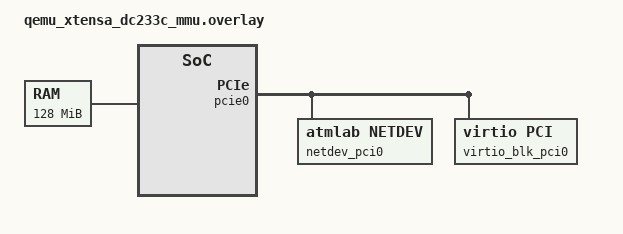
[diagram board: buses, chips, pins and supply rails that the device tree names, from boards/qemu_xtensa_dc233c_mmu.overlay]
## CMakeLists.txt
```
cmake_minimum_required(VERSION 3.20.0)

find_package(Zephyr REQUIRED HINTS $ENV{ZEPHYR_BASE})
project(service)

# Zephyr only tracks syscall headers under ZEPHYR_BASE/include, so edits to ours
# would not regenerate syscalls.json in an existing (e.g. cached) build dir.
# Reconfigure when the header changes, and drop the stale output when it does.
set(ATMLAB_SYSCALL_HEADER ${CMAKE_CURRENT_SOURCE_DIR}/atmlab_syscall.h)
set(ATMLAB_SYSCALLS_JSON ${CMAKE_BINARY_DIR}/zephyr/misc/generated/syscalls.json)
set_property(DIRECTORY APPEND PROPERTY CMAKE_CONFIGURE_DEPENDS ${ATMLAB_SYSCALL_HEADER})
if(${ATMLAB_SYSCALL_HEADER} IS_NEWER_THAN ${ATMLAB_SYSCALLS_JSON})
  file(REMOVE ${ATMLAB_SYSCALLS_JSON})
endif()

target_sources(app PRIVATE
  src/aal5.c
  src/atm.c
  src/coap_service.c
  src/crc.c
  src/f5.c
  src/inet.c
  src/main.c
  src/netdev.c
  src/pppoeoa.c
  src/signaling.c
  src/socket_atm.c
  src/syscall_guard.c
  src/user_data.c
  src/userspace.c
)
target_compile_options(app PRIVATE -fno-inline)

# Tests
target_sources_ifdef(CONFIG_SELFTEST app PRIVATE src/test/selftest.c)
target_sources_ifdef(CONFIG_SELFTEST_ATM_NETDEV app PRIVATE src/test/netdev.c)

# Ensure the SOC is set correctly
if(NOT CONFIG_SOC STREQUAL "dc233c")
  error("Unsupported SOC ${CONFIG_SOC}")
endif()

# Ship zephyr.elf without our debug info and symbols, keeping Zephyr's. Only the
# final link may use the stripped archive; gen_kobject_list.py needs our DWARF.
set(APP_NODWARF ${APPLICATION_BINARY_DIR}/libapp-nodwarf.a)
add_custom_command(
  OUTPUT ${APP_NODWARF}
  COMMAND ${CMAKE_OBJCOPY} --strip-debug $<TARGET_FILE:app> ${APP_NODWARF}
  DEPENDS app
  COMMENT "Dropping application debug info for the final link"
  VERBATIM
)
add_custom_target(app-nodwarf DEPENDS ${APP_NODWARF})
add_dependencies(${logical_target_for_zephyr_elf} app-nodwarf)

get_target_property(FINAL_LIBS ${logical_target_for_zephyr_elf} LINK_LIBRARIES)
list(TRANSFORM FINAL_LIBS REPLACE "^app$" ${APP_NODWARF})
set_target_properties(${logical_target_for_zephyr_elf} PROPERTIES LINK_LIBRARIES "${FINAL_LIBS}")

# .text is writable due to `-Wl,-N` (ld `--omagic`) in the linker flags.
# Combined with Xtensa's constant pools, this messes with tooling in a horrible way.
# I'd leave this normally, but it's unnecessary pain for ECSC.
add_custom_target(text-readonly ALL
  COMMAND ${PYTHON_EXECUTABLE} ${APPLICATION_SOURCE_DIR}/scripts/clear_section_write_flag.py
          ${APPLICATION_BINARY_DIR}/zephyr/${KERNEL_ELF_NAME} .text
  DEPENDS ${APPLICATION_SOURCE_DIR}/scripts/clear_section_write_flag.py
  COMMENT "Clearing the SHF_WRITE bit -Wl,-N leaves on .text"
  VERBATIM
)
add_dependencies(text-readonly ${logical_target_for_zephyr_elf})

# Dropping our names from the symbol table on top of that is optional: with
# CONFIG_STRIP_APP_SYMBOLS=n, ${KERNEL_ELF_NAME} keeps our function and object
# names.
if(CONFIG_STRIP_APP_SYMBOLS)
  set(DEBUG_ELF ${APPLICATION_BINARY_DIR}/zephyr/zephyr-debug.elf)
  add_custom_command(
    OUTPUT ${DEBUG_ELF}
    COMMAND ${PYTHON_EXECUTABLE} ${APPLICATION_SOURCE_DIR}/scripts/strip_app_symbols.py
            --nm ${CMAKE_NM} --ar ${CMAKE_AR} --objcopy ${CMAKE_OBJCOPY}
            --build-dir ${APPLICATION_BINARY_DIR} --app-lib $<TARGET_FILE:app>
            --debug-copy ${DEBUG_ELF}
            ${APPLICATION_BINARY_DIR}/zephyr/${KERNEL_ELF_NAME}
    DEPENDS ${logical_target_for_zephyr_elf} text-readonly
            ${APPLICATION_SOURCE_DIR}/scripts/strip_app_symbols.py
    COMMENT "Stripping application symbols from ${KERNEL_ELF_NAME}"
    VERBATIM
  )
  add_custom_target(strip-app-symbols ALL DEPENDS ${DEBUG_ELF})
endif()

# Build base-disk to build the template disk image
set(BASE_DISK ${APPLICATION_BINARY_DIR}/base-disk.img)
add_custom_command(
  OUTPUT ${BASE_DISK}
  COMMAND
    env
      BASE_DISK=${BASE_DISK}
      SLOTS_PER_GENERATION=${CONFIG_OAM_SLOTS_PER_GENERATION}
      LIVE_GENERATIONS=${CONFIG_OAM_LIVE_GENERATIONS}
      RECORD_SIZE=${CONFIG_OAM_RECORD_SIZE}
    ${APPLICATION_SOURCE_DIR}/../mkdisk.sh
  DEPENDS ${APPLICATION_SOURCE_DIR}/../mkdisk.sh
  COMMENT "Building base-disk.img"
  VERBATIM
)
add_custom_target(base-disk DEPENDS ${BASE_DISK})

# run-virt to run with the correct hardware setup
add_custom_target(run-virt
  COMMAND
    env
      KERNEL=${APPLICATION_BINARY_DIR}/zephyr/${KERNEL_ELF_NAME}
      QEMU=${QEMU}
      BASE_DISK=${BASE_DISK}
    ${APPLICATION_SOURCE_DIR}/../run.sh
  DEPENDS ${logical_target_for_zephyr_elf} ${BASE_DISK}
  USES_TERMINAL
  VERBATIM
)
```

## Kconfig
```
source "Kconfig.zephyr"

config STRIP_APP_SYMBOLS
    bool "Strip application symbols from zephyr.elf"
    default y
    help
      Removes our own function and object names from the shipped zephyr.elf,
      keeping Zephyr's, and leaves a copy with them intact in zephyr-debug.elf.
      Our debug info is dropped from the final link either way.

menu "ATM network devices"

config ATM_LOG_LEVEL
    int "Log level for ATM network devices"
    default LOG_DEFAULT_LEVEL
    range 0 4
    help
      Sets the log level for ATM network devices:
      0: None
      1: Error
      2: Warning
      3: Info
      4: Debug

config ATM_NETDEV_MSG_HEAP_SIZE
    int "Size of the heap for ATM cells"
    default 4194304

config ATM_CIRCUIT_LIFETIME_SECONDS
    int "Release accepted circuits after X seconds (0 disables)"
    default 180
    help
      Bounds how long one call can hold a handler thread. A handler that stops
      cooperating is not reclaimed by anything else.

config ATM_HANDLER_ABORT_GRACE_MS
    int "Grace period before a lingering handler thread is aborted"
    default 1000
    help
      How long a handler gets to notice that its circuit is gone and exit on
      its own before it is aborted.

menu "Self-tests"

config SELFTEST
    bool
    help
      Runs self-tests instead of the main application

config SELFTEST_LOG_LEVEL
    int "Log level for selftests"
    depends on SELFTEST
    default 4
    range 0 4
    help
      Sets the log level for the self-tests:
      0: None
      1: Error
      2: Warning
      3: Info
      4: Debug

config SELFTEST_ATM_NETDEV
    bool "Run network device self-test"
    default no
    select SELFTEST

endmenu

endmenu

menu "OAM"

config OAM_STORAGE_ROOT
    string "OAM storage root"
    default "/disk0:/oam"
    help
      Storage root for OAM F5 management commands

config OAM_STORAGE_ROTATION_MS
    int "Rotate OAM storage at least every X milliseconds"
    default 60000

config OAM_LIVE_GENERATIONS
    int "Number of rotations that OAM storage should persist"
    default 32
    help
      Choose a number high enough to cover the flag lifetime plus extra generations from rebooting.
      Must be a power of two.

config OAM_SLOTS_PER_GENERATION
    int "Number of slots per OAM storage generation"
    default 16384
    help
      Choose a number high enough to cover the expected number of stores per round.
      Must be a power of two.

config OAM_RECORD_SIZE
    int "Bytes per OAM storage record"
    default 64

endmenu
```

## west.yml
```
# Copyright (c) 2021 Nordic Semiconductor ASA
# SPDX-License-Identifier: Apache-2.0

manifest:
  remotes:
    - name: zephyrproject-rtos
      url-base: https://github.com/zephyrproject-rtos

  projects:
    - name: zephyr
      url: https://github.com/Attacking-Lab/ecsc2026-service-router-zephyr
      revision: main
      import:
        name-allowlist:
          - fatfs
          - hal_xtensa
          - mbedtls
```

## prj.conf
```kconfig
# Hardware
CONFIG_DISK_ACCESS=y
CONFIG_FILE_SYSTEM=y
CONFIG_FAT_FILESYSTEM_ELM=y
CONFIG_FS_FATFS_MOUNT_MKFS=n
CONFIG_FS_FATFS_REENTRANT=y
CONFIG_HEAP_MEM_POOL_SIZE=16777216
CONFIG_PCIE=y
CONFIG_PCIE_CONTROLLER=y
CONFIG_PCIE_ECAM=y
CONFIG_VIRTIO=y

# Threads
CONFIG_DYNAMIC_OBJECTS=y
CONFIG_DYNAMIC_THREAD=y
CONFIG_DYNAMIC_THREAD_ALLOC=y
CONFIG_EXECUTE_XOR_WRITE=n
CONFIG_MAX_THREAD_BYTES=48
CONFIG_THREAD_NAME=y
CONFIG_USERSPACE=y
CONFIG_XTENSA_MMU_FLUSH_AUTOREFILL_DTLBS_ON_SWAP=y
CONFIG_XTENSA_MMU_FLUSH_AUTOREFILL_ITLBS_ON_SWAP=y
CONFIG_XTENSA_USER_STACK_EXECUTABLE=y

# Syscalls
#   atmlab: our own
#   zephyr: stdio
#   thread_abort: automatically called at exit
#   sched_current_thread_query: called by k_is_user_context
CONFIG_SYSCALL_FILTER=".*(atmlab|zephyr|thread_abort|sched_current_thread_query).*"
CONFIG_APPLICATION_DEFINED_SYSCALL=y

# CoAP
# CONFIG_COAP requires CONFIG_NETWORKING but we don't use that, so CONFIG_NET_NATIVE=n
# The RNG is there to provide sys_rand_get to coap_next_token, but never actually used.
CONFIG_NETWORKING=y
CONFIG_NET_NATIVE=n
CONFIG_COAP=y
CONFIG_COAP_URI_WILDCARD=n
CONFIG_TEST_RANDOM_GENERATOR=y
CONFIG_TIMER_RANDOM_GENERATOR=y

# cry(ptogrpahy)
CONFIG_MBEDTLS=y
CONFIG_MBEDTLS_AES_ROM_TABLES=y
CONFIG_MBEDTLS_CIPHER=y
CONFIG_MBEDTLS_CIPHER_AES_ENABLED=y
CONFIG_MBEDTLS_CIPHER_MODE_CTR_ENABLED=y
CONFIG_MBEDTLS_CMAC=y
CONFIG_MBEDTLS_ENABLE_HEAP=y
CONFIG_MBEDTLS_HEAP_SIZE=4096

# memory management is a myth invented by the ram industry to sell you more ram
CONFIG_XTENSA_MMU_NUM_L1_TABLES=252
CONFIG_XTENSA_MMU_NUM_L2_TABLES=2048
CONFIG_KERNEL_VM_SIZE=0x6000000

# Stacks
CONFIG_ISR_STACK_SIZE=4096
CONFIG_SYSTEM_WORKQUEUE_STACK_SIZE=4096
CONFIG_LOG_PROCESS_THREAD_STACK_SIZE=2048
CONFIG_XTENSA_USER_FAULT_BAILOUT_STACK_SIZE=2048

# Debugging
CONFIG_STRIP_APP_SYMBOLS=n
CONFIG_EARLY_CONSOLE=y
CONFIG_KERNEL_LOG_LEVEL_ERR=y
CONFIG_LOG=y
CONFIG_LOG_DEFAULT_LEVEL=4
CONFIG_LOG_MAX_LEVEL=4
CONFIG_LOG_MODE_IMMEDIATE=n
CONFIG_LOG_RUNTIME_DEFAULT_LEVEL=1
CONFIG_LOG_RUNTIME_FILTERING=y
CONFIG_STDOUT_CONSOLE=y
CONFIG_XTENSA_SIM_CONSOLE=y
```

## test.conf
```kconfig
CONFIG_SELFTEST_ATM_NETDEV=y
```

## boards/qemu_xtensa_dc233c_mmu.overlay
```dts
#include <zephyr/dt-bindings/pcie/pcie.h>

/ {
    chosen {
        zephyr,pcie-controller = &pcie0;
    };

    /* Don't reduce RAM size just because you want to, Zephyr... */
    sram0: memory@0 {
        reg = <0x00000000 0x08000000>;
    };

    intc: interrupt-controller@ff000000 {
        compatible = "cdns,xtensa-core-intc";
        reg = <0xff000000 0x400>;
        interrupt-controller;
        #address-cells = <0>;
        #interrupt-cells = <3>;
    };

    pcie0: pcie@f0100000 {
        compatible = "pci-host-ecam-generic", "pcie-controller";
        device_type = "pci";
        reg = <0xf0100000 0x00600000>;
        bus-range = <0x00 0x05>;
        #address-cells = <3>;
        #size-cells = <2>;
        #interrupt-cells = <1>;
        ranges =
            <0x01000000 0 0xf0000000  0xf0000000 0 0x00010000
             0x02000000 0 0xf4000000  0xf4000000 0 0x04000000
             0x03000000 0 0xf8000000  0xf8000000 0 0x04000000>;
        interrupt-parent = <&intc>;
        interrupt-map-mask = <0x0 0x0 0x0 0x7>;
        interrupt-map =
            <0x800 0x0 0x0 0x1 &intc 0x0 1 0
             0x800 0x0 0x0 0x2 &intc 0x1 1 0
             0x800 0x0 0x0 0x3 &intc 0x2 1 0
             0x800 0x0 0x0 0x4 &intc 0x3 1 0>;

        netdev_pci0: netdev_pci0 {
            compatible = "atmlab,netdev";
            vendor-id = <0xdff4>;
            device-id = <0x1337>;
            interrupts = <0x1 1 0>;
            interrupt-parent = <&intc>;
            status = "okay";
        };

        virtio_blk_pci0: virtio_blk_pci0 {
            compatible = "virtio,pci";
            vendor-id = <0x1af4>;
            device-id = <0x1042>;
            interrupts = <0x2 1 0>;
            interrupt-parent = <&intc>;
            status = "okay";

            disk0: disk0 {
                compatible = "virtio,blk";
                disk-name = "disk0";
                status = "okay";
            };
        };
    };
};
```

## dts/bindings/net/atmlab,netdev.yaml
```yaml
description: ATMLAB PCI network device

compatible: "atmlab,netdev"

include: [base.yaml, pcie-device.yaml]

properties:
  interrupts:
    required: true
```

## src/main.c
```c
#include <zephyr/kernel.h>

#include <zephyr/app_memory/mem_domain.h>
#include <zephyr/app_memory/partitions.h>
#include <zephyr/fatal.h>
#include <zephyr/fs/fs.h>
#include <zephyr/logging/log_ctrl.h>
#include <zephyr/storage/disk_access.h>
#include <zephyr/sys/libc-hooks.h>
#include <zephyr/sys/printk.h>

#include <ff.h>

#include "aal5.h"
#include "syscall_guard.h"
#include "userspace.h"

#if CONFIG_SELFTEST
#include "test/selftest.h"
#endif

struct k_mem_domain thread_domains[MAX_HANDLERS];

// A handler domain starts out with nothing of its own: the thread's stack is
// mapped into it when the thread joins (and unmapped when it dies), and
// text/rodata are mapped shared for every ring. The C library's globals are the
// one thing that has to be handed over explicitly, or printf() faults.
//
// This has to run before anything maps memory that is not identity-mapped --
// the PCI BARs, above all. A domain is a copy of the kernel page tables taken
// when the domain is created, and arch_mem_domain_init() makes that copy by
// resetting every page it copies to the attributes saved at boot. Pages mapped
// after boot have no saved attributes, so they come out of the copy *unmapped*:
// a domain created after the PCIe/virtio drivers is missing their BARs, and the
// virtio ISR dies with a load-prohibited fault the first time it fires while a
// handler thread is current. Taking the copy first avoids the whole problem,
// because arch_mem_map() propagates every later mapping into every existing
// domain. Hence PRE_KERNEL_1, right after the memory domain subsystem itself
// (which initialises at KERNEL_INIT_PRIORITY_DEFAULT) and before the drivers.
static int init_thread_domains(void)
{
    struct k_mem_partition *parts[] = { &z_libc_partition };

    for (size_t i = 0; i < ARRAY_SIZE(thread_domains); ++i) {
        int error = k_mem_domain_init(&thread_domains[i], ARRAY_SIZE(parts), parts);
        if (error != 0) {
            printk("Failed to initialize thread domain %zu: %d\n", i, error);
            return error;
        }
    }

    return 0;
}

BUILD_ASSERT(CONFIG_KERNEL_INIT_PRIORITY_DEFAULT < 50);
SYS_INIT(init_thread_domains, PRE_KERNEL_1, 50);

static FATFS fat_fs;
static struct fs_mount_t fat_mount = { .type = FS_FATFS, .mnt_point = "/disk0:", .fs_data = &fat_fs, };

int main(void) {
#if CONFIG_SELFTEST
    run_selftests();
#endif

    int error;

    error = disk_access_ioctl("disk0", DISK_IOCTL_CTRL_INIT, NULL);
    if (error != 0) {
        printk("Failed to initialize disk: %d\n", error);
        k_panic();
    }

    error = fs_mount(&fat_mount);
    if (error != 0) {
        printk("Failed to mount disk at %s: %d\n", fat_mount.mnt_point, error);
        k_panic();
    }

    userspace_main();

    printk("Initialization done.\n");
    return 0;
}

// The default error handler would panic the entire system.
// This will only kill the thread that caused the panic.
void k_sys_fatal_error_handler(unsigned int reason, const struct arch_esf *esf) {
    // What thread are we on?
    struct k_thread *thread = k_current_get();
    const char *name = k_thread_name_get(thread);
    if (name == NULL || name[0] == '\0') {
        name = "unknown";
    }

    // k_is_in_isr() is always true here: on Xtensa the exception entry bumps
    // the nesting count before calling into C. Only a deeper nesting means the
    // fault happened inside an ISR.
    bool fault_in_isr = arch_curr_cpu()->nested > 1;

    // A user thread that faulted inside one of our syscalls may hold a kernel
    // lock (store_lock, the FatFS volume, the disk). Dropping it would leave
    // that lock owned by a dead thread whose object gets recycled, and every
    // later locker would fault in priority inheritance; halting is better.
    // K_OOPS in the z_vrfy_*() checks fires before the guard and holds nothing.
    bool fault_in_syscall = syscall_guard_forget(thread);

    // Only a faulting user thread can be dropped on its own. k_is_user_context()
    // cannot answer this (we are already privileged), but we can ask the thread.
    if (fault_in_isr || fault_in_syscall || (thread->base.user_options & K_USER) == 0) {
        // Flush the deferred log backend, or the fault that got us here is dropped.
        LOG_PANIC();
        printk("Fatal error %u in kernel context on thread: %p (%s)%s\n", reason, thread, name,
                fault_in_syscall ? " inside a syscall" : "");
        k_fatal_halt(reason);
    }

    // The system keeps running, so do not use LOG_PANIC() (it latches the logger
    // into synchronous mode for good, which costs ~1 KB of stack per printk) or
    // log_flush() (it sleeps, which is not allowed inside the exception handler).
    printk("Fatal error on thread: %p (%s)\n", thread, name);
    log_thread_trigger();
}
```

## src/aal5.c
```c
/*
 * Implementation of ATM Adaption Layer Type 5 as specified in I.363.5
 *
 * Streaming mode (7.ii) is not implemented.
 * Corrupted data delivery (Annex E) is not implemented.
 */

#include <string.h>
#include <zephyr/kernel.h>

#include <zephyr/logging/log.h>
#include <zephyr/sys/crc.h>
#include <zephyr/sys/util.h>

#include "aal5.h"
#include "atm.h"
#include "crc.h"

LOG_MODULE_REGISTER(aal5_layer, CONFIG_ATM_LOG_LEVEL);

struct atm_sdu_entry {
    void *fifo_reserverd;
    uint32_t auu;
    uint8_t data[ATM_SDU_SIZE];
};

__always_inline static uint16_t aal5_trailer_get_len(const struct aal5_trailer* trailer)
{
    return trailer->length[0] << 8 | trailer->length[1];
}

__always_inline static void aal5_trailer_set_len(struct aal5_trailer* trailer, uint16_t length)
{
    trailer->length[0] = (uint8_t)(length >> 8);
    trailer->length[1] = (uint8_t)length;
}

__always_inline static uint32_t aal5_trailer_get_crc(const struct aal5_trailer* trailer)
{
    return trailer->crc[0] << 24 | trailer->crc[1] << 16 | trailer->crc[2] << 8 | trailer->crc[3];
}

__always_inline static void aal5_trailer_set_crc(struct aal5_trailer* trailer, uint32_t crc)
{
    trailer->crc[0] = (uint8_t)(crc >> 24);
    trailer->crc[1] = (uint8_t)(crc >> 16);
    trailer->crc[2] = (uint8_t)(crc >> 8);
    trailer->crc[3] = (uint8_t)crc;
}

static void aal5_cb(struct atm_vc* atm_vc, uint8_t* atm_sdu, bool loss_priority, bool congestion_indication, uint32_t auu)
{
    struct aal5_vc *vc = CONTAINER_OF(atm_vc, struct aal5_vc, atm);

    if (atomic_get(&vc->rx_q_cells) >= AAL5_RX_QUEUE_CELLS) {
        // Reader is not reading, drop the cell
        LOG_DBG("rx queue full, dropping cell");
        return;
    }

    struct atm_sdu_entry *sdu = k_malloc(sizeof(struct atm_sdu_entry));
    if (sdu == NULL) {
        LOG_ERR("out of memory, dropping cell");
        return;
    }
    sdu->auu = auu;
    memcpy(sdu->data, atm_sdu, ATM_SDU_SIZE);

    atomic_inc(&vc->rx_q_cells);
    k_fifo_put(&vc->rx_q, sdu);
}

int aal5_rx(struct aal5_vc *vc, uint8_t *buf, size_t *buf_len, uint8_t *uu)
{
    int rx_size = 0;
    uint32_t crc = CRC_INITIAL_VALUE;

    if (
            vc == NULL
            || buf == NULL
            || buf_len == NULL
            || (*buf_len + sizeof(struct aal5_trailer)) % ATM_SDU_SIZE != 0 ) {
        return -EINVAL;
    }

    if (vc->closing) {
        return -ENOTCONN;
    }

    while (true) {
        struct atm_sdu_entry *sdu = k_fifo_get(&vc->rx_q, K_FOREVER);
        if (sdu == NULL) {
            // can only happen if signaled from close
            // means connection is closed
            return -ENOTCONN;
        }
        if ((void *)sdu == (void *)&vc->rx_eof) {
            // end-of-stream marker from aal5_close_vc(); put it back for the
            // next reader, it is part of the VC and must not be freed
            k_fifo_put(&vc->rx_q, &vc->rx_eof);
            return -ENOTCONN;
        }
        atomic_dec(&vc->rx_q_cells);

        if (vc->rx_dropping) {
            // rx error from previous cell
            // drop until next AAL5 SDU
            if (sdu->auu == 1) {
                vc->rx_dropping = false;
            }
        } else if (sdu->auu == 1) {
            // last frame
            struct aal5_trailer *trailer = (struct aal5_trailer*)((uintptr_t)sdu->data + ATM_SDU_SIZE - sizeof(struct aal5_trailer));
            bool discard = false;

            // can be negative if there is already padding in the previous cell
            int sdu_remaining_bytes = (int)aal5_trailer_get_len(trailer) - rx_size;
            if (
                    aal5_trailer_get_len(trailer) == 0                                          // explicit drop requested
                    || sdu_remaining_bytes < -(int)(sizeof(struct aal5_trailer) - 1)            // too much data already present
#ifdef FIX_AAL5_BUG
                    || sdu_remaining_bytes > (int)(ATM_SDU_SIZE - sizeof(struct aal5_trailer))  // too little data
                    || aal5_trailer_get_len(trailer) > *buf_len                                 // too much data for buffer
#else
                    || sdu_remaining_bytes > ATM_SDU_SIZE                                       // too little data
#endif
                    || trailer->cpi != 0                                                        // invalid cpi
                    ) {
                LOG_DBG("Dropping invalid AAL5 SDU");
                discard = true;
            }

            if (!discard) {
                // update crc
                crc = update_crc(crc, sdu->data, ATM_SDU_SIZE - 4);
                crc = CRC_FINISH(crc);

                if (aal5_trailer_get_crc(trailer) != crc) {
                    LOG_DBG("Invalid CRC: calculated: %x expected: %x", crc, aal5_trailer_get_crc(trailer));
                    discard = true;
                }
            }

            if (discard) {
                // stop processing invalid SDU
                vc->rx_dropping = true;
                rx_size = 0;
                k_free(sdu);
                continue;
            }
            if (sdu_remaining_bytes > 0) {
                memcpy(buf + rx_size, sdu->data, sdu_remaining_bytes);
            }
            // rx_size needs to be adjusted even if sdu_remaining_bytes is < 0
            // because this indicates padding in the previous cell that needs to be truncated
            rx_size += sdu_remaining_bytes;
            *buf_len = rx_size;
            if (uu != NULL) {
                *uu = trailer->uu;
            }
            k_free(sdu);
            return 0;
        } else {
            // continous frame
            if (rx_size + ATM_SDU_SIZE > *buf_len - 1) {
                // either this or the next ATM SDU would overflow the buffer
                // drop packets in the following call
                vc->rx_dropping = true;
                // and notify the caller
                k_free(sdu);
                return -ENOBUFS;
            }
            // update crc
            crc = update_crc(crc, sdu->data, ATM_SDU_SIZE);

            // copy to reassembly buffer
            memcpy(buf + rx_size, sdu->data, ATM_SDU_SIZE);
            rx_size += ATM_SDU_SIZE;
        }
        k_free(sdu);
    }

}

int aal5_tx(struct aal5_vc *vc, const uint8_t *sdu, size_t sdu_len, bool loss_priority, bool congestion_indication, uint8_t uu)
{
    if (vc->closing) {
        return -ENOTCONN;
    }

    if (sdu_len > UINT16_MAX) {
        return -EINVAL;
    }

    uint32_t crc = CRC_INITIAL_VALUE;
    crc = update_crc(crc, sdu, sdu_len);
    size_t sdu_remaining_bytes = sdu_len;
    size_t left;
    while (true) {
        size_t data_len = min(sdu_remaining_bytes, ATM_SDU_SIZE);
        left = ATM_SDU_SIZE - data_len;

        if (left == 0) {
            // full cell, send it out
            int ret = atm_tx_data(&vc->atm, sdu, loss_priority, congestion_indication, 0);
            if (ret != 0) {
                return ret;
            }
        } else if (left < sizeof(struct aal5_trailer)) {
            // not enough space for trailer, but need to add padding
            uint8_t cell[ATM_SDU_SIZE];
            memcpy(cell, sdu, sdu_remaining_bytes);
            memset(cell + sdu_remaining_bytes, 0, left);
            // need to include padding in the CRC
            crc = update_crc(crc, cell + sdu_remaining_bytes, left);
            int ret = atm_tx_data(&vc->atm, cell, loss_priority, congestion_indication, 0);
            if (ret != 0) {
                return ret;
            }
        } else {
            // enough space for the trailer, this is the last cell
            uint8_t cell[ATM_SDU_SIZE];
            memcpy(cell, sdu, sdu_remaining_bytes);
            memset(cell + sdu_remaining_bytes, 0, left - sizeof(struct aal5_trailer));
            struct aal5_trailer *trailer = (struct aal5_trailer*)((uintptr_t)cell + ATM_SDU_SIZE - sizeof(struct aal5_trailer));
            trailer->uu = uu;
            trailer->cpi = 0;
            aal5_trailer_set_len(trailer, sdu_len);

            // CRC includes padding and trailer, except for the CRC field
            crc = update_crc(crc, cell + sdu_remaining_bytes, left - 4);
            aal5_trailer_set_crc(trailer, CRC_FINISH(crc));

            // set auu to 1 to indicate last cell
            int ret = atm_tx_data(&vc->atm, cell, loss_priority, congestion_indication, 1);
            if (ret != 0) {
                return ret;
            }
            break;
        }
        sdu_remaining_bytes -= data_len;
        sdu += data_len;
    }
    return 0;
}

struct aal5_vc *aal5_find_vc(uint32_t vpi, uint32_t vci)
{
    struct atm_vc *atm_vc = atm_find_vc(vpi, vci);
    if (atm_vc == NULL) {
        return NULL;
    }
    struct aal5_vc *vc = CONTAINER_OF(atm_vc, struct aal5_vc, atm);
    return vc;
}

int aal5_open_pvc(struct aal5_vc *vc, uint32_t vpi, uint32_t vci)
{
    int ret;
    if ((ret = atm_set_data_cb(&vc->atm, aal5_cb)) != 0) {
        return ret;
    }
    vc->closing = false;
    vc->rx_dropping = false;
    atomic_clear(&vc->rx_q_cells);
    k_fifo_init(&vc->rx_q);
    return atm_open_pvc(&vc->atm, vpi, vci);
}

int aal5_close_vc(struct aal5_vc *vc)
{
    if (vc == NULL) {
        return -EINVAL;
    }

    // vc may be stale (see aal5_find_vc), so claim the teardown before touching
    // any field; on -EBADR another closer owns it and we must not touch it
    int ret;
    if ((ret = atm_close_vc(&vc->atm)) != 0) {
        return ret;
    }

    // we own the teardown: the RX callback is done and nothing can put into
    // rx_q any more; the memory stays valid until atm_close_vc_finish()
    vc->closing = true;

    // clear any remaining entries in the queue
    struct atm_sdu_entry *sdu;
    while ((sdu = k_fifo_get(&vc->rx_q, K_NO_WAIT)) != NULL) {
        k_free(sdu);
    }
    atomic_clear(&vc->rx_q_cells);

    // wake a waiting reader and fail every later one (must come after the drain)
    k_fifo_put(&vc->rx_q, &vc->rx_eof);

    // last access to the VC
    atm_close_vc_finish(&vc->atm);
    return 0;
}
```

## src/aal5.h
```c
#ifndef AAL5_H_
#define AAL5_H_

#include <zephyr/sys/atomic.h>

#include "atm.h"

#define AAL5_MAX_SDU_SIZE 2048
#define AAL5_RX_QUEUE_CELLS 128

struct aal5_trailer {
    uint8_t uu;     // User-to-User indication
    uint8_t cpi;    // Common Part Indicator (reserved)
    uint8_t length[2];
    uint8_t crc[4];
} __packed;

struct aal5_vc;

struct aal5_vc {
    struct atm_vc atm;
    bool closing;
    bool rx_dropping;
    struct k_fifo rx_q;
    /* number of cells currently in rx_q; written by both producer and reader */
    atomic_t rx_q_cells;
    /*
     * End-of-stream marker: aal5_close_vc() queues it, aal5_rx() recognises
     * it by address and returns -ENOTCONN. Unlike k_fifo_cancel_wait() it also
     * catches readers that are not pending yet.
     */
    void *rx_eof;
};

/*
 * Wrapper around atm_open_vc for a PVC that uses AAL5
 * vc must be allocated by the caller
 * If the vpi/vci combination is already used return -EADDRINUSE
 */
int aal5_open_pvc(struct aal5_vc *vc, uint32_t vpi, uint32_t vci);

/*
 * Close the given virtual circuit
 * The allocated memory must be deallocated by the caller
 *
 * Only one caller tears a circuit down (see atm_close_vc()); the others get
 * -EBADR without touching the VC, so a stale pointer from aal5_find_vc() is safe.
 * Returns -EINVAL if vc is NULL, -EBADR if the circuit is not open (any more).
 */
int aal5_close_vc(struct aal5_vc *vc);

/*
 * Get the aal5_vc struct belonging to a given VPI VCI combination
 *
 * Returns NULL if the VPI VCI combination is not used
 * The result is not pinned (see atm_find_vc()); only pass it to aal5_close_vc().
 */
struct aal5_vc *aal5_find_vc(uint32_t vpi, uint32_t vci);

/*
 * Receive an AAL5 encoded SDU via the VC into the given buffer
 * buf_len is the length of the buffer on entry and is returned as the actually received size
 * uu is returned as the uu of the SDU
 *
 * buf_len needs to be (N * ATM_SDU_SIZE) - 8
 *
 * If the conection is closed returns -ENOTCONN
 * If the arguments are invalid returns -EINVAL
 * If the buffer is to small for the received SDU returns -ENOBUFS
 */
int aal5_rx(struct aal5_vc *vc, uint8_t *buf, size_t *buf_len, uint8_t *uu);

/*
 * Send an AAL5 encoded SDU via a VC to the receiving side
 * sdu_len must be less than 2^16
 *
 * If the conection is closed returns -ENOTCONN
 * If an ATM network device does not exist, this returns -ENODEV.
 * If the device is not ready yet, this returns -ENXIO.
 * If the system is out of memory this function will block until memory is available again
 *
 * Ref: I.363.5 7.2.1 CPCS-UNITDATA invoke
 */
int aal5_tx(struct aal5_vc *vc, const uint8_t *sdu, size_t sdu_len, bool loss_priority, bool congestion_indication, uint8_t uu);

#endif
```

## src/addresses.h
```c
#ifndef ADDRESSES_H_
#define ADDRESSES_H_

#include <stdint.h>

#define E164_ADDRESS_SIZE 8
#define E164_MAX_LENGTH 15

/* Struct holding an E.164 address
 *
 * just a normal phone number
 */
struct E164_address {
    uint8_t address[E164_ADDRESS_SIZE];
};

/*
 * Struct holding an ATM address per E.191
 *
 * We only support E.164 AESA which means that the idi is an E.164 address
 */
struct E191_address {
    uint8_t idp;
    struct E164_address idi;
    uint8_t ho_dsp[4];
    uint8_t esi[6];
    uint8_t sel;
} __packed;

#endif
```

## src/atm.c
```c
#include <zephyr/kernel.h>

#include <zephyr/logging/log.h>
#include <zephyr/spinlock.h>
#include <zephyr/sys/slist.h>

#include "f5.h"
#include "netdev.h"

LOG_MODULE_REGISTER(atm_layer, CONFIG_ATM_LOG_LEVEL);

// Important: The lock protects the list, the cache and every vc->_state
static struct k_spinlock vcs_lock;
static sys_slist_t vcs = SYS_SLIST_STATIC_INIT(&vcs);
static struct atm_vc *vc_cache = NULL;

static struct atm_vc *_atm_find_vc(uint32_t vpi, uint32_t vci, struct atm_vc **prev)
{
    if (prev != NULL) {
        *prev = NULL;
    }

    struct atm_vc *current;
    bool found = false;
    SYS_SLIST_FOR_EACH_CONTAINER(&vcs, current, _node) {
        if (current->vpi == vpi && current->vci == vci) {
            found = true;
            break;
        }
        if (prev != NULL) {
            *prev = current;
        }
    }

    return found ? current : NULL;
}

// Look a VC up by identity. vc is only compared, never dereferenced, so a
// stale pointer is safe here. Call with vcs_lock held.
static struct atm_vc *_atm_find_vc_ptr(const struct atm_vc *vc, struct atm_vc **prev)
{
    if (prev != NULL) {
        *prev = NULL;
    }

    struct atm_vc *current;
    SYS_SLIST_FOR_EACH_CONTAINER(&vcs, current, _node) {
        if (current == vc) {
            return current;
        }
        if (prev != NULL) {
            *prev = current;
        }
    }

    return NULL;
}

struct atm_vc *atm_find_vc(uint32_t vpi, uint32_t vci)
{
    k_spinlock_key_t vcs_lock_key = k_spin_lock(&vcs_lock);
    struct atm_vc *ret = _atm_find_vc(vpi, vci, NULL);
    k_spin_unlock(&vcs_lock, vcs_lock_key);
    return ret;
}

int atm_open_pvc(struct atm_vc *vc, uint32_t vpi, uint32_t vci)
{
    if (vc == NULL) {
        LOG_WRN("vc is NULL");
        return -EINVAL;
    }

    if (vpi > ATM_MAX_VPI || vci > ATM_MAX_VCI) {
        LOG_WRN("%u.%u is not a valid circuit", vpi, vci);
        return -EINVAL;
    }

    k_spinlock_key_t vcs_lock_key = k_spin_lock(&vcs_lock);
    if (_atm_find_vc(vpi, vci, NULL) != NULL) {
        k_spin_unlock(&vcs_lock, vcs_lock_key);
        LOG_WRN("circuit %u.%u is already in use", vpi, vci);
        return -EADDRINUSE;
    }

    vc->_node.next = 0;
    vc->vpi = vpi;
    vc->vci = vci;
    vc->is_svc = false;
    vc->mgmt_cb = f5_rx;
    k_mutex_init(&vc->lock);

    vc->_state = ATM_VC_OPEN;
    sys_slist_append(&vcs, &vc->_node);
    k_spin_unlock(&vcs_lock, vcs_lock_key);
    return 0;
}

int atm_close_vc(struct atm_vc *vc)
{
    if (vc == NULL) {
        LOG_WRN("vc is NULL");
        return -EINVAL;
    }

    // vc may be stale (callers get it from atm_find_vc without holding a
    // reference), so match by address and do not touch *vc until it is found.
    k_spinlock_key_t vcs_lock_key = k_spin_lock(&vcs_lock);
    struct atm_vc *prev;
    struct atm_vc *element = _atm_find_vc_ptr(vc, &prev);
    if (element == NULL) {
        k_spin_unlock(&vcs_lock, vcs_lock_key);
        // never opened, or another closer got here first
        LOG_DBG("vc was not in list");
        return -EBADR;
    }

    // Unlinking is the teardown claim: only one caller gets past this point.
    // if prev is NULL this will remove the the first element in the list
    sys_slist_remove(&vcs, prev != NULL ? &prev->_node : NULL, &element->_node);
    element->_state = ATM_VC_CLOSING;
    // the cache must never outlive the list entry
    vc_cache = NULL;
    k_spin_unlock(&vcs_lock, vcs_lock_key);

    // VC might still be in use by the RX path, wait before returning
    // this assures that all callbacks invokations are finished after this function returns
    k_mutex_lock(&vc->lock, K_FOREVER);
    k_mutex_unlock(&vc->lock);
    return 0;
}

void atm_close_vc_finish(struct atm_vc *vc)
{
    if (vc == NULL) {
        return;
    }

    // last access to the VC: after this the owner may free it
    k_spinlock_key_t vcs_lock_key = k_spin_lock(&vcs_lock);
    vc->_state = ATM_VC_CLOSED;
    k_spin_unlock(&vcs_lock, vcs_lock_key);
}

bool atm_vc_is_closed(const struct atm_vc *vc)
{
    k_spinlock_key_t vcs_lock_key = k_spin_lock(&vcs_lock);
    bool ret = vc == NULL || vc->_state == ATM_VC_CLOSED;
    k_spin_unlock(&vcs_lock, vcs_lock_key);
    return ret;
}

int atm_set_data_cb(struct atm_vc *vc, atm_data_cb cb)
{
    if (vc == NULL) {
        LOG_WRN("vc is NULL");
        return -EINVAL;
    }

    vc->data_cb = cb;
    return 0;
}

uint8_t atm_hec_crc(const uint8_t *data, size_t len)
{
    uint8_t crc = 0x00;
    for (int i = 0; i < len; i++) {
        crc ^= data[i];
        for (int b = 0; b < 8; b++)
            crc = (crc & 0x80) ? (crc << 1) ^ 0x07 : (crc << 1);
    }
    return crc ^ 0x55;
}

static int _atm_tx(uint32_t vpi, uint32_t vci, const uint8_t *sdu, bool loss_priority, enum atm_pti pti)
{
    struct atm_cell_buffer *buf = atm_cell_buffer_alloc();
    if (buf == NULL) {
        LOG_ERR_RATELIMIT("out of cell buffers, dropping transmit cell");
        return -ENOMEM;
    }
    atm_hdr_set_vpi(buf->buffer, vpi);
    atm_hdr_set_vci(buf->buffer, vci);
    atm_hdr_set_pti(buf->buffer, pti);
    atm_hdr_set_gfc(buf->buffer, 0);
    atm_hdr_set_clp(buf->buffer, loss_priority ? 1 : 0);
    atm_hdr_set_hec(buf->buffer, atm_hec_crc(buf->buffer, 4));

    memcpy(buf->buffer + ATM_HEADER_SIZE, sdu, ATM_SDU_SIZE);

    // the netdev only takes ownership of the buffer once it is queued
    int ret = atm_netdev_tx(buf);
    if (ret != 0) {
        atm_cell_buffer_free(buf);
    }
    return ret;
}

int atm_tx(struct atm_vc *vc, const uint8_t *sdu, bool loss_priority, enum atm_pti pti)
{
    if (vc == NULL) {
        LOG_WRN("vc is NULL");
        return -EINVAL;
    }

    return _atm_tx(vc->vpi, vc->vci, sdu, loss_priority, pti);
}

int atm_tx_circuit(const struct atm_vc *vc, uint32_t vpi, uint32_t vci, const uint8_t *sdu, bool loss_priority, enum atm_pti pti)
{
    /*
     * The VC may have been closed and freed since the request arrived, so never
     * dereference it: _atm_find_vc_ptr() only compares addresses. Matching the
     * identity too means a different call that took over the same VPI/VCI does
     * not get the answer.
     */
    k_spinlock_key_t vcs_lock_key = k_spin_lock(&vcs_lock);
    struct atm_vc *element = _atm_find_vc_ptr(vc, NULL);
    bool open = element != NULL && element->vpi == vpi && element->vci == vci;
    k_spin_unlock(&vcs_lock, vcs_lock_key);

    if (!open) {
        LOG_DBG("dropping a deferred cell for the closed circuit %u.%u", vpi, vci);
        return -ENOTCONN;
    }

    return _atm_tx(vpi, vci, sdu, loss_priority, pti);
}

int atm_tx_data(struct atm_vc *vc, const uint8_t *sdu, bool loss_priority, bool congestion_indication, uint32_t auu)
{
    enum atm_pti pti = 0;
    if (auu == 0 && !congestion_indication) {
        pti = PtiUserDataCell0;
    } else if (auu == 1 && !congestion_indication) {
        pti = PtiUserDataCell1;
    } else if (auu == 0 && congestion_indication) {
        pti = PtiUserDataCellCongested0;
    } else if (auu == 1 && congestion_indication) {
        pti = PtiUserDataCellCongested1;
    }

    return atm_tx(vc, sdu, loss_priority, pti);
}

static int atm_rx_task(void *p1, void *p2, void *p3)
{
    ARG_UNUSED(p1);
    ARG_UNUSED(p2);
    ARG_UNUSED(p3);

    while (true) {
        struct atm_cell_buffer *buffer;
        int ret = atm_netdev_rx(&buffer, K_FOREVER);
        if (ret != 0) {
            LOG_ERR("atm rx failed with: %d", ret);
            return ret;
        }

        // do basic checks before getting the VC
        uint8_t pti = atm_hdr_get_pti(buffer->buffer);
        bool clp = atm_hdr_get_clp(buffer->buffer);

        if (pti == PtiReserved) {
            LOG_WRN("dropping cell with reserved pti");
            atm_cell_buffer_free(buffer);
            continue;
        }

        // find the matching VC
        struct atm_vc *vc;
        uint8_t vpi = atm_hdr_get_vpi(buffer->buffer);
        uint16_t vci = atm_hdr_get_vci(buffer->buffer);
        k_spinlock_key_t vcs_lock_key = k_spin_lock(&vcs_lock);
        if (vc_cache != NULL && vc_cache->vpi == vpi && vc_cache->vci == vci) {
            // assumption is that multiple packets to the same vc will arrive in batches
            // thus cache the last used vc instead of traversing the list every time
            vc = vc_cache;
        } else {
            vc = _atm_find_vc(vpi, vci, NULL);
            if (vc == NULL) {
                LOG_INF("Dropping packet to unregistered vpi: %d vci: %d", vpi, vci);
                k_spin_unlock(&vcs_lock, vcs_lock_key);
                atm_cell_buffer_free(buffer);
                continue;
            }
            vc_cache = vc;
        }
        // lock the VC before unlocking the list lock
        if ((ret = k_mutex_lock(&vc->lock, K_NO_WAIT)) != 0) {
            // RX and close are the only paths taking the VC lock
            // RX is single threaded and close removes the VC from the list before locking the VC
            // thus this branch can never be reached
            LOG_ERR("VC already locked on RX path: %d", ret);
            k_panic();
        }
        k_spin_unlock(&vcs_lock, vcs_lock_key);

        // process packet
        if (pti == PtiSegmentOamF5Cell || pti == PtiEndToEndOamF5Cell || pti == PtiResourceManagementCell) {
            if (vc->mgmt_cb) {
                vc->mgmt_cb(vc, buffer->buffer + ATM_HEADER_SIZE, clp, pti);
            } else {
                LOG_WRN("vc has no mgmt cb, vpi: %d vci: %d", vc->vpi, vc->vci);
            }
        } else {
            uint32_t congestion_indication, auu;
            switch (pti) {
                case PtiUserDataCell0:
                    congestion_indication = 0;
                    auu = 0;
                    break;
                case PtiUserDataCell1:
                    congestion_indication = 0;
                    auu = 1;
                    break;
                case PtiUserDataCellCongested0:
                    congestion_indication = 1;
                    auu = 0;
                    break;
                case PtiUserDataCellCongested1:
                    congestion_indication = 1;
                    auu = 1;
                    break;
                default:
                    k_panic();
            }
            if (vc->data_cb) {
                vc->data_cb(vc, buffer->buffer + ATM_HEADER_SIZE, clp, congestion_indication, auu);
            } else {
                LOG_WRN("vc has no data cb, vpi: %d vci: %d", vc->vpi, vc->vci);
            }
        }

        if ((ret = k_mutex_unlock(&vc->lock)) != 0) {
            LOG_ERR("atm_rx release failed: %d", ret);
            k_panic();
        }
        atm_cell_buffer_free(buffer);
    }
    return 0;
}

K_THREAD_DEFINE(atm_rx_thread, 2048, atm_rx_task, NULL, NULL, NULL, 0, 0, 0);
```

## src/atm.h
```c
#ifndef ATM_H_
#define ATM_H_

#include <zephyr/kernel.h>

#include <zephyr/sys/slist.h>

#define ATM_CELL_SIZE 53
#define ATM_QUEUE_SIZE 100

/*
 * The UNI cell header carries 8 bits of VPI and 16 bits of VCI.
 * VCI 0..31 are reserved (0..15 by the ITU-T, 16..31 by the ATM Forum)
 * and are never used for a call.
 */
#define ATM_MAX_VPI 0xffU
#define ATM_MAX_VCI 0xffffU
#define ATM_MIN_CALL_VCI 32U

struct atm_cell_buffer;
struct atm_vc;
enum atm_pti;

/*
 * Callback that is called for every data cell that is received on the circuit
 *
 * Ref: I.361 3.1 ATM-DATA indication
 */
typedef void(atm_data_cb)(struct atm_vc* vc, uint8_t* sdu, bool loss_priority, bool congestion_indication, uint32_t auu);

/*
 * Callback that is called for every mgmt cell that is received on the circuit
 *
 * This is for use with F5
 */
// TODO: where to set this?
typedef void(atm_mgmt_cb)(struct atm_vc* vc, uint8_t* sdu, bool loss_priority, enum atm_pti pti);

/*
 * Teardown state of a virtual circuit, protected by the VC list lock.
 * A VC is in the list exactly while it is ATM_VC_OPEN.
 */
enum atm_vc_state {
    ATM_VC_CLOSED = 0,  /* never opened or fully torn down: may be freed */
    ATM_VC_OPEN,        /* in the VC list */
    ATM_VC_CLOSING,     /* unlinked, teardown in progress: must not be freed */
};

/*
 * Virtual Circuit struct
 */
struct atm_vc {
	sys_snode_t _node;
    uint32_t vpi : 12;
    uint32_t vci : 16;
    bool is_svc;
    atm_mgmt_cb *mgmt_cb;
    atm_data_cb *data_cb;
    struct k_mutex lock;
    uint8_t _state; /* enum atm_vc_state */
};

/*
 * Payload type identifier for an ATM cell
 */
enum atm_pti {
    PtiUserDataCell0 = 0b000,
    PtiUserDataCell1 = 0b001,
    PtiUserDataCellCongested0 = 0b010,
    PtiUserDataCellCongested1 = 0b011,
    PtiSegmentOamF5Cell = 0b100,
    PtiEndToEndOamF5Cell = 0b101,
    PtiResourceManagementCell = 0b110,
    PtiReserved = 0b111,
} __packed;

/*
 * ATM header utilities
 */

#define ATM_HEADER_SIZE 5

__always_inline static uint8_t atm_hdr_get_gfc(const uint8_t *cell)
{
    return cell[0] >> 4;
}
__always_inline static void atm_hdr_set_gfc(uint8_t *cell, uint8_t gfc)
{
    cell[0] = (cell[0] & 0xf) | (gfc << 4);
}

__always_inline static uint8_t atm_hdr_get_vpi(const uint8_t *cell)
{
    return (cell[0] << 4) | (cell[1] >> 4);
}

__always_inline static void atm_hdr_set_vpi(uint8_t *cell, uint8_t vpi)
{
    cell[0] = (cell[0] & 0xf0) | (vpi >> 4);
    cell[1] = (cell[1] & 0x0f) | (vpi << 4);
}

__always_inline static uint16_t atm_hdr_get_vci(const uint8_t *cell)
{
    return (((uint16_t) (cell[1] & 0xf)) << 12) |
           (((uint16_t) cell[2]) << 4) |
           (((uint16_t) cell[3]) >> 4);
}

__always_inline static void atm_hdr_set_vci(uint8_t *cell, uint16_t vci)
{
    cell[1] = (cell[1] & 0xf0) | (vci >> 12);
    cell[2] = vci >> 4;
    cell[3] = (cell[3] & 0x0f) | (vci << 4);
}

__always_inline static uint8_t atm_hdr_get_pti(const uint8_t *cell)
{
    return (cell[3] >> 1) & 7;
}

__always_inline static void atm_hdr_set_pti(uint8_t *cell, uint8_t pti)
{
    cell[3] = (cell[3] & 0xf1) | ((pti & 7) << 1);
}

__always_inline static bool atm_hdr_get_clp(const uint8_t *cell)
{
    return cell[3] & 1;
}

__always_inline static void atm_hdr_set_clp(uint8_t *cell, bool clp)
{
    cell[3] = (cell[3] & 0xfe) | (clp ? 1 : 0);
}

__always_inline static uint8_t atm_hdr_get_hec(const uint8_t *cell)
{
    return cell[4];
}

__always_inline static void atm_hdr_set_hec(uint8_t *cell, uint8_t hec)
{
    cell[4] = hec;
}

uint8_t atm_hec_crc(const uint8_t *data, size_t len);


/*
 * Buffer for an ATM cell
 *
 * contains a reserved field used by the fifo communicating with the netdev layer
 */
struct atm_cell_buffer {
    void *fifo_reserved;
    uint8_t buffer[ATM_CELL_SIZE];
};

#define ATM_CELL_TO_CELL_BUFFER(raw_buffer) \
    CONTAINER_OF((uint8_t *) raw_buffer, struct atm_cell_buffer, buffer[0])
#define ATM_SDU_SIZE (ATM_CELL_SIZE - ATM_HEADER_SIZE)

/* Allocate an ATM cell. Returns NULL if the cell heap is exhausted. */
struct atm_cell_buffer *atm_cell_buffer_alloc(void);

/* Free an ATM cell */
void atm_cell_buffer_free(struct atm_cell_buffer *buffer);

/*
 * Opens a permanent virtual circuit with the given vpi and vci
 * vc must be allocated by the caller
 * If the vpi/vci combination is already used return -EADDRINUSE
 *
 * For our setup we can ignore the fact that a virtual circuit would normally
 * be running on top of a virtual path
 */
int atm_open_pvc(struct atm_vc *vc, uint32_t vpi, uint32_t vci);

/*
 * Claim the teardown of the given virtual circuit: unlink it and wait for a
 * running RX callback to finish. Exactly one caller succeeds; all others get
 * -EBADR without the VC being dereferenced, so vc may be a stale pointer from
 * atm_find_vc(). The caller must finish with atm_close_vc_finish(); the memory
 * must not be freed before that.
 * Returns -EINVAL if vc is NULL, -EBADR if the VC is not (or no longer) open.
 */
int atm_close_vc(struct atm_vc *vc);

/*
 * End a teardown claimed by atm_close_vc(). Last access to the VC.
 */
void atm_close_vc_finish(struct atm_vc *vc);

/* True if the VC was never opened or its teardown has finished, i.e. it may be freed */
bool atm_vc_is_closed(const struct atm_vc *vc);

/*
 * Sets the callback that is called for every cell that is received by this circuit
 */
int atm_set_data_cb(struct atm_vc *vc, atm_data_cb cb);

/*
 * Get the atm_vc struct belonging to a given VPI VCI combination
 *
 * Returns NULL if the VPI VCI combination is not used
 *
 * The result is not pinned: the circuit may be closed and freed at any time,
 * so only pass it to atm_close_vc()/aal5_close_vc(), which validate it first.
 */
struct atm_vc *atm_find_vc(uint32_t vpi, uint32_t vci);

/*
 * Send a ATM-SDU over the given virtual circuit
 * sdu must point to a byte array of exactly 48 bytes
 *
 * If an ATM network device does not exist, this returns -ENODEV.
 * If the device is not ready yet, this returns -ENXIO.
 * If the system is out of memory this returns -ENOMEM, and if the transmit
 * backlog is full it returns -ENOBUFS.
 *
 * This is for use with F5 to set the pti directly
 */
int atm_tx(struct atm_vc *vc, const uint8_t *sdu, bool loss_priority, enum atm_pti pti);

/*
 * Send a ATM-SDU over the circuit identified by vpi/vci, for a sender that
 * answers on another thread after atm_rx_task() released the VC lock.
 *
 * vc names the circuit the request arrived on. Like in atm_close_vc() it is
 * only compared against the VC list, never dereferenced, so it may be stale.
 *
 * Returns -ENOTCONN if that circuit is no longer open, otherwise as atm_tx().
 */
int atm_tx_circuit(const struct atm_vc *vc, uint32_t vpi, uint32_t vci, const uint8_t *sdu, bool loss_priority, enum atm_pti pti);

/*
 * Send a ATM-SDU over the given virtual circuit
 * sdu must point to a byte array of exactly 48 bytes
 *
 * If an ATM network device does not exist, this returns -ENODEV.
 * If the device is not ready yet, this returns -ENXIO.
 * If the system is out of memory this returns -ENOMEM, and if the transmit
 * backlog is full it returns -ENOBUFS.
 *
 * Ref: I.361 3.1 ATM-DATA request
 */
int atm_tx_data(struct atm_vc *vc, const uint8_t *sdu, bool loss_priority, bool congestion_indication, uint32_t auu);

#endif
```

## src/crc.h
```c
#include <stddef.h>
#include <stdint.h>

#define CRC_INITIAL_VALUE 0xFFFFFFFF
#define CRC_FINISH(crc) (~(crc))

uint32_t update_crc(uint32_t crc, const uint8_t *data, size_t length);
```
